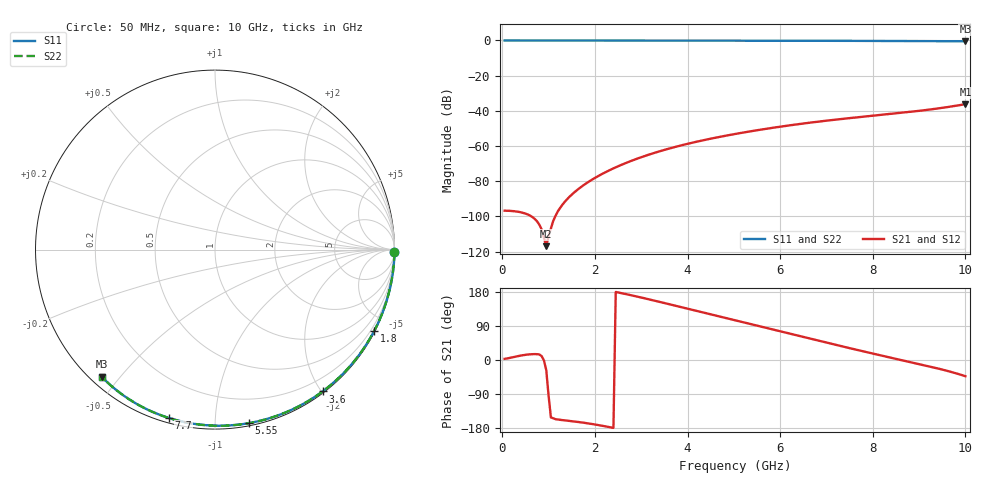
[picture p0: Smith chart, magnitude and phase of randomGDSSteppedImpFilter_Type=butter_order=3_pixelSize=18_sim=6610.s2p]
! freq	dB(S11)	phase(S11)	dB(S12)	phase(S12)
!  dB(S21)	phase(S21)	dB(S22)	phase(S22)
!S-par simulation data
#  GHz  S  DB  R 50
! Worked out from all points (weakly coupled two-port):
!   200 points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, 50 MHz to 10 GHz, reference 50 ohm
!   highest |S21| = -36.21 dB at 10 GHz (marker M1); lowest = -116.9 dB at 950 MHz (marker M2)
!   lowest |S11| = -0.5 dB at 10 GHz (marker M3), VSWR 38.23, Z = 1.57 - j22.4 ohm
!   |S11| at or under -10 dB: nowhere
!   |S22| runs from -0.5 to 0.0 dB; largest |S21 - S12| = 0
!   S11 on the Smith chart (normalised r, x): 50 MHz: open; 1.8 GHz: 0.04, -4.16; 3.6 GHz: 0.02, -2.01; 5.55 GHz: 0.02, -1.22; 7.7 GHz: 0.02, -0.76; 10 GHz: 0.03, -0.45
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0.05  -0.00 -0.8  -96.75 3.0  -96.75 3.0  -0.00 -0.8
0.5  -0.01 -7.6  -98.39 13.7  -98.39 13.7  -0.01 -7.6
0.95  -0.02 -14.4  -116.93 -26.9  -116.93 -26.9  -0.02 -14.4
1.75  -0.03 -26.3  -82.34 -165.4  -82.34 -165.4  -0.03 -26.3
1.8  -0.03 -27.0  -81.43 -166.3  -81.43 -166.3  -0.03 -27.0
1.85  -0.04 -27.7  -80.56 -167.2  -80.56 -167.2  -0.04 -27.8
1.9  -0.04 -28.5  -79.72 -168.2  -79.72 -168.2  -0.04 -28.5
2.05  -0.04 -30.7  -77.38 -171.2  -77.38 -171.2  -0.04 -30.7
2.25  -0.04 -33.6  -74.59 -175.6  -74.59 -175.6  -0.04 -33.6
2.65  -0.05 -39.4  -69.84 174.4  -69.84 174.4  -0.05 -39.4
3  -0.06 -44.4  -66.36 164.9  -66.36 164.9  -0.06 -44.4
3.4  -0.07 -50.0  -62.97 153.3  -62.97 153.3  -0.07 -50.0
3.6  -0.07 -52.8  -61.46 147.4  -61.46 147.4  -0.07 -52.8
4.3  -0.09 -62.4  -56.94 126.4  -56.94 126.4  -0.09 -62.4
5.05  -0.11 -72.4  -53.05 104.1  -53.05 104.1  -0.11 -72.4
5.55  -0.13 -78.9  -50.82 89.2  -50.82 89.2  -0.13 -78.9
6.1  -0.15 -85.9  -48.64 72.9  -48.64 72.9  -0.15 -85.9
6.7  -0.18 -93.3  -46.54 54.9  -46.54 54.9  -0.18 -93.3
7.7  -0.24 -105.3  -43.60 25.5  -43.60 25.5  -0.24 -105.3
8.35  -0.29 -112.9  -41.87 7.3  -41.87 7.3  -0.29 -113.0
9.25  -0.37 -123.3  -39.20 -17.7  -39.20 -17.7  -0.37 -123.3
10  -0.45 -131.7  -36.21 -42.8  -36.21 -42.8  -0.46 -131.8
